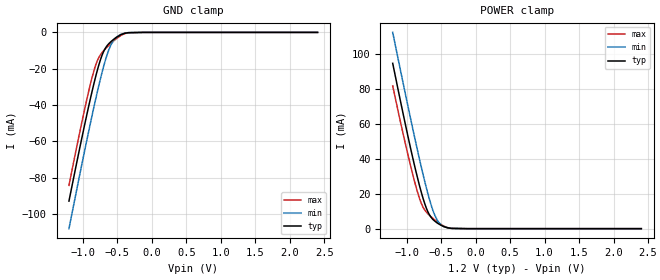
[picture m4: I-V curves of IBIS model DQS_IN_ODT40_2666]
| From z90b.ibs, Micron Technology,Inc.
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| MODEL DQS_IN_ODT40_2666 (Data Strobe Input with 40ohm ODT, 1600-2666Mbps)
[Model]   DQS_IN_ODT40_2666
Model_type   Input
Vinl = 860.000mV
Vinh = 1060.000mV
|   typ   min   max
|C_comp   0.985pF   0.919pF   1.061pF
C_comp_power_clamp   0.4925pF   0.4595pF   0.5305pF
C_comp_gnd_clamp   0.4925pF   0.4595pF   0.5305pF
| Note: C_comp changes when the ODT circuit is enabled.
|[Model Spec]
| Dynamic Overshoot Parameters from DDR4 Specification
|D_overshoot_ampl_h   0.40   NA   NA
|D_overshoot_ampl_l   0.40   NA   NA
|D_overshoot_area_h   0.0720n   NA   NA
|D_overshoot_area_l   0.0720n   NA   NA
[Voltage Range]   1.2000V   1.1400V   1.2600V
| Junction Temperature (Ambient temp is 35C typ, 95C min, 0C max)
[Temperature Range]   50.0   110.0   0.0
[Add Submodel]
| Submodel Name   Mode
40ohm_ODT_2666   Non-Driving
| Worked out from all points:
|   GND clamp passes 1 mA (typ) near -0.43 V on its own axis
|   POWER clamp passes 1 mA (typ) near -0.45 V on its own axis
[GND Clamp]
|   Voltage   I(typ)   I(min)   I(max)
-1.2V     -92.91mA   -108.1mA   -84.24mA
-971.9mV  -50.75mA   -65.02mA   -42.21mA
-896.8mV  -37.73mA   -51.38mA   -29.64mA
-823.2mV  -25.88mA   -38.52mA   -19.23mA
-762.2mV  -17.33mA   -28.44mA   -13.47mA
-682.8mV  -9.398mA   -16.71mA   -9.507mA
-642.5mV  -7.084mA   -11.74mA   -7.93mA
-586.7mV  -4.918mA   -6.46mA    -5.886mA
-509.2mV  -2.641mA   -2.521mA   -3.349mA
-441.6mV  -1.176mA   -986uA     -1.584mA
-335.6mV  -148.9uA   -131.3uA   -203.3uA
2.402V    0A         0A         0A
[POWER Clamp]
|   Voltage   I(typ)   I(min)   I(max)
-1.2V     94.4mA     112.1mA    81.53mA
-1.08V    71.46mA    89.03mA    59.65mA
-975.7mV  52.11mA    69.28mA    41.63mA
-878.4mV  35.16mA    51.42mA    26.21mA
-811.3mV  24.49mA    39.55mA    17.21mA
-748.6mV  15.83mA    29.01mA    11.45mA
-673.2mV  8.285mA    17.52mA    7.872mA
-626.6mV  5.644mA    11.5mA     6.21mA
-571.9mV  3.731mA    6.092mA    4.43mA
-502.3mV  1.991mA    2.314mA    2.466mA
-344.5mV  137.8uA    150.1uA    160.8uA
2.402V    0A         0A         0A
